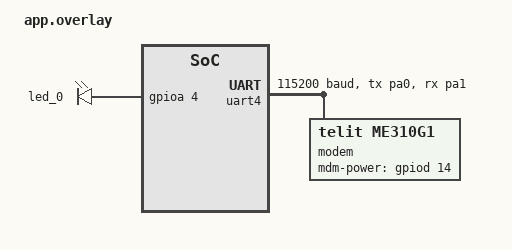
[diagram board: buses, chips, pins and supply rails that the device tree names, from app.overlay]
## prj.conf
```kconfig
# prj.conf
CONFIG_POSIX_API=y

CONFIG_NETWORKING=y
CONFIG_NET_NATIVE=y
CONFIG_NET_IPV4=y
CONFIG_NET_SOCKETS=y

CONFIG_NET_L2_PPP=y

CONFIG_DNS_RESOLVER=y
CONFIG_NET_L2_PPP_OPTION_DNS_USE=y

CONFIG_MODEM=y
CONFIG_PM_DEVICE=y
CONFIG_MODEM_CELLULAR=y
CONFIG_MODEM_STATS=y
CONFIG_MODEM_CELLULAR_APN="simplio.apn"

CONFIG_NET_TCP=y 
CONFIG_NET_UDP=y
CONFIG_NET_CONTEXT_RCVTIMEO=y

CONFIG_NET_MGMT=y
CONFIG_NET_MGMT_EVENT=y
CONFIG_NET_CONNECTION_MANAGER=y
CONFIG_NET_BUF_RX_COUNT=32

CONFIG_MQTT_LIB=y

CONFIG_MAIN_STACK_SIZE=4096
CONFIG_HEAP_MEM_POOL_SIZE=2048
CONFIG_MODEM_PPP=y
CONFIG_MODEM_CMUX_WORK_BUFFER_SIZE=256
CONFIG_MODEM_CELLULAR_CHAT_BUFFER_SIZE=256
CONFIG_MODEM_CELLULAR_USER_PIPE_BUFFER_SIZES=256

CONFIG_SHELL=y
CONFIG_KERNEL_SHELL=y
CONFIG_SHELL_WILDCARD=n
CONFIG_MODEM_AT_SHELL=y
CONFIG_PM_DEVICE_SHELL=y

CONFIG_LOG=y
CONFIG_ENTROPY_GENERATOR=y
CONFIG_TEST_RANDOM_GENERATOR=y
# CONFIG_MQTT_LOG_LEVEL_DBG=y
# CONFIG_MODEM_MODULES_LOG_LEVEL_DBG=y
CONFIG_GPIO=y
CONFIG_LED=y
```

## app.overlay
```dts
/ {
    aliases {
        modem-uart = &uart4;
        modem = &modem;
		ldoen = &mdm_ldo;
    };

    chosen {
        zephyr,ppp-uart = &uart4;
    };

    mdm_ldo: mdm_ldo {
        compatible = "gpio-leds";
        label = "Modem LDO Enable";
        led_0: led_0 {
            gpios = <&gpioa 4 GPIO_ACTIVE_HIGH>;
        };
    };	
};

&uart4 {
    pinctrl-0 = <&uart4_tx_pa0 &uart4_rx_pa1>;
    pinctrl-names = "default";
    current-speed = <115200>;
    status = "okay";

    modem: modem {
        status = "okay";
        compatible = "telit,me310g1";
        mdm-power-gpios = <&gpiod 14 GPIO_ACTIVE_HIGH>;
    };
};

&gpioa {
    status = "okay";
};

&gpiod {
    status = "okay";
};
```

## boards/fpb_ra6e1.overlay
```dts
/ {
    aliases {
        modem-uart = &dut;
		modem = &modem;
		ldoen = &mdm_ldo;
    };

	chosen {
        zephyr,ppp-uart = &dut;
    };

    mdm_ldo: mdm_ldo {
        compatible = "gpio-leds";
        label = "Modem LDO Enable";
        led_0: led_0 {
            gpios = <&ioport1 13 GPIO_ACTIVE_HIGH>;
        };
    };	
};

&pinctrl {
    sci9_default: sci9_default {
        group1 {
            /* tx rx */
            psels = <RA_PSEL(RA_PSEL_SCI_9, 1, 9)>,
                <RA_PSEL(RA_PSEL_SCI_9, 1, 10)>;
        };
    };
};

&sci9 {
    pinctrl-0 = <&sci9_default>;
    pinctrl-names = "default";
	status = "okay";
	dut: uart {
		current-speed = <115200>;
		status = "okay";

		modem: modem {
	        status = "okay";
		    compatible = "telit,me310g1";
			mdm-power-gpios = <&ioport4 9 GPIO_ACTIVE_HIGH>;
		};
	};
};

&ioport1 {
    status = "okay";
};

&ioport4 {
    status = "okay";
};
```

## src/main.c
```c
/*
 * Copyright (c) 2021-2023 Nordic Semiconductor ASA
 * Modified for Zephyr v4.2 API compatibility
 * SPDX-License-Identifier: Apache-2.0
 */

#include <zephyr/kernel.h>
#include <zephyr/logging/log.h>
#include <zephyr/net/socket.h>
#include <zephyr/net/mqtt.h>

#include <zephyr/device.h>
#include <zephyr/pm/device.h>
#include <zephyr/net/net_if.h>
#include <zephyr/net/ppp.h>
#include <zephyr/random/random.h>

#include <stdio.h>
#include <string.h>

#include <zephyr/drivers/led.h>

#define MQTT_MESSAGE_BUFFER_SIZE 256
#define MQTT_CLIENT_ID "zephyr0099"
#define MQTT_PUB_TOPIC "zephyr/mqtt/publisher"
#define MQTT_PUB_MSG_COUNT 5
#define MQTT_PAYLOAD_BUFFER_SIZE 64

LOG_MODULE_REGISTER(mqtt_publisher_modem, LOG_LEVEL_INF);
static const struct device *const ldo_en = DEVICE_DT_GET(DT_ALIAS(ldoen));

/* Buffers for MQTT client. */
static uint8_t rx_buffer[MQTT_MESSAGE_BUFFER_SIZE];
static uint8_t tx_buffer[MQTT_MESSAGE_BUFFER_SIZE];

/* The mqtt client struct */
static struct mqtt_client client;

/* MQTT Broker details. */
static struct sockaddr_storage broker;

static struct pollfd pfd;
static atomic_t connected;

void setup_modem_power(void)
{
	int ret;

	if (!device_is_ready(ldo_en)) {
		printk("LDO Enable device not ready\n");
		return;
	}

	printk("Turning on Modem LDO...\n");
	ret = led_on(ldo_en, 0);

	if (ret < 0) {
		printk("Failed to turn on LDO\n");
	}
	k_sleep(K_MSEC(300));
}

void shutdown_modem_power(void)
{
	if (!device_is_ready(ldo_en)) {
		return;
	}

	printk("Turning off Modem LDO...\n");

	led_off(ldo_en, 0);
	k_sleep(K_MSEC(3000));
}


static void mqtt_evt_handler(struct mqtt_client *const c,
		const struct mqtt_evt *evt)
{
	switch (evt->type) {
		case MQTT_EVT_CONNACK:
			if (evt->result != 0) {
				LOG_ERR("MQTT connect failed: %d", evt->result);
				break;
			}

			atomic_set(&connected, 1);
			LOG_INF("MQTT client connected");
			break;

		case MQTT_EVT_DISCONNECT:
			LOG_INF("MQTT client disconnected: %d", evt->result);
			atomic_set(&connected, 0);
			pfd.fd = -1;
			break;

		case MQTT_EVT_PUBACK:
			LOG_INF("PUBACK packet id: %u", evt->param.puback.message_id);
			break;

		default:
			break;
	}
}

static int client_init(void)
{
	mqtt_client_init(&client);

	client.broker = &broker;
	client.evt_cb = mqtt_evt_handler;
	client.client_id.utf8 = (const uint8_t *)MQTT_CLIENT_ID;
	client.client_id.size = strlen(MQTT_CLIENT_ID);
	client.password = NULL;
	client.user_name = NULL;
	client.protocol_version = MQTT_VERSION_3_1_1;

	client.rx_buf = rx_buffer;
	client.rx_buf_size = sizeof(rx_buffer);
	client.tx_buf = tx_buffer;
	client.tx_buf_size = sizeof(tx_buffer);

	client.transport.type = MQTT_TRANSPORT_NON_SECURE;

	return 0;
}

static int broker_init(void)
{
	int err;
	struct addrinfo *result;
	struct addrinfo hints = {
		.ai_family = AF_INET,
		.ai_socktype = SOCK_STREAM
	};

	err = getaddrinfo("broker.hivemq.com", NULL, &hints, &result);
	if (err) {
		LOG_ERR("getaddrinfo failed: %d", err);
		return -ECHILD;
	}

	struct sockaddr_in *broker4 = (struct sockaddr_in *)result->ai_addr;
	broker4->sin_port = htons(1883);

	memcpy(&broker, broker4, sizeof(struct sockaddr_in));

	freeaddrinfo(result);

	return 0;
}

static void data_publish(struct mqtt_client *c, enum mqtt_qos qos,
		uint8_t *data, size_t len)
{
	struct mqtt_publish_param param;

	param.message.topic.qos = qos;
	param.message.topic.topic.utf8 = MQTT_PUB_TOPIC;
	param.message.topic.topic.size = strlen(MQTT_PUB_TOPIC);
	param.message.payload.data = data;
	param.message.payload.len = len;
	param.message_id = sys_rand32_get();
	param.dup_flag = 0;
	param.retain_flag = 0;

	mqtt_publish(c, &param);
}

int main(void)
{
	int err;
	uint32_t i = 0;
	char payload[MQTT_PAYLOAD_BUFFER_SIZE];

	const struct device *modem_dev = DEVICE_DT_GET(DT_NODELABEL(modem));

    shutdown_modem_power();
    setup_modem_power();

	if (!device_is_ready(modem_dev)) {
		LOG_ERR("Modem device not ready!");
		return -1;
	}
	LOG_INF("Modem ready");
	pm_device_action_run(modem_dev, PM_DEVICE_ACTION_RESUME);
	LOG_INF("Bringing up PPP interface...");
	struct net_if *iface = net_if_get_first_by_type(&NET_L2_GET_NAME(PPP));
	if (!iface) {
		LOG_ERR("No PPP interface found");
		return -1;
	}
	net_if_up(iface);
	int timeout = 60;
	while (timeout-- > 0 && !net_if_is_up(iface)) {
		LOG_INF("Waiting for PPP connection... %d s left", timeout + 1);
		k_sleep(K_SECONDS(1));
	}
	if (!net_if_is_up(iface)) {
		LOG_ERR("PPP connection failed after 60 seconds");
		return -1;
	}
	LOG_INF("PPP connected successfully!");
	LOG_INF("Waiting Modem UP");
	k_sleep(K_SECONDS(5));

	LOG_INF("Initializing MQTT client...");
	err = client_init();
	if (err) {
		LOG_ERR("client_init: %d", err);
		return 0;
	}

	err = broker_init();
	if (err) {
		LOG_ERR("broker_init: %d", err);
		return 0;
	}

	err = mqtt_connect(&client);
	if (err) {
		LOG_ERR("mqtt_connect: %d", err);
		return 0;
	}

	pfd.fd = client.transport.tcp.sock;
	pfd.events = POLLIN;

	LOG_INF("Waiting for CONNACK...");
	timeout = 10;
	while(timeout-- > 0 && !atomic_get(&connected)) {
		err = poll(&pfd, 1, 1000);
		if (err > 0 && (pfd.revents & POLLIN)) {
			err = mqtt_input(&client);
			if (err) {
				LOG_ERR("mqtt_input: %d", err);
				return 0;
			}
		} else if (err < 0) {
			LOG_ERR("poll failed: %d", errno);
			return 0;
		}
	}

	if (!atomic_get(&connected)) {
		LOG_ERR("Failed to connect to MQTT broker within 10 seconds.");
		return 0;
	}

	while (i < MQTT_PUB_MSG_COUNT && atomic_get(&connected)) {
		err = poll(&pfd, 1, 100); //100ms poll
		if (err < 0) {
			LOG_ERR("poll: %d", errno);
			break;
		}

		if ((pfd.revents & POLLIN) == POLLIN) {
			err = mqtt_input(&client);
			if (err) {
				LOG_ERR("mqtt_input: %d", err);
				break;
			}
		}

		err = mqtt_live(&client);
		if (err != 0 && err != -EAGAIN) {
			LOG_ERR("mqtt_live: %d", err);
			break;
		}

		LOG_INF("Publishing message %u...", i + 1);
		sprintf(payload, "Message %u from Zephyr", ++i);
		data_publish(&client, MQTT_QOS_0_AT_MOST_ONCE, payload, strlen(payload));

		k_sleep(K_SECONDS(2));
	}

	LOG_INF("Disconnecting MQTT client...");

	err = mqtt_disconnect(&client, NULL);
	if (err) {
		LOG_ERR("mqtt_disconnect: %d", err);
	}

	LOG_INF("Bye!");

	return 0;
}	
```
